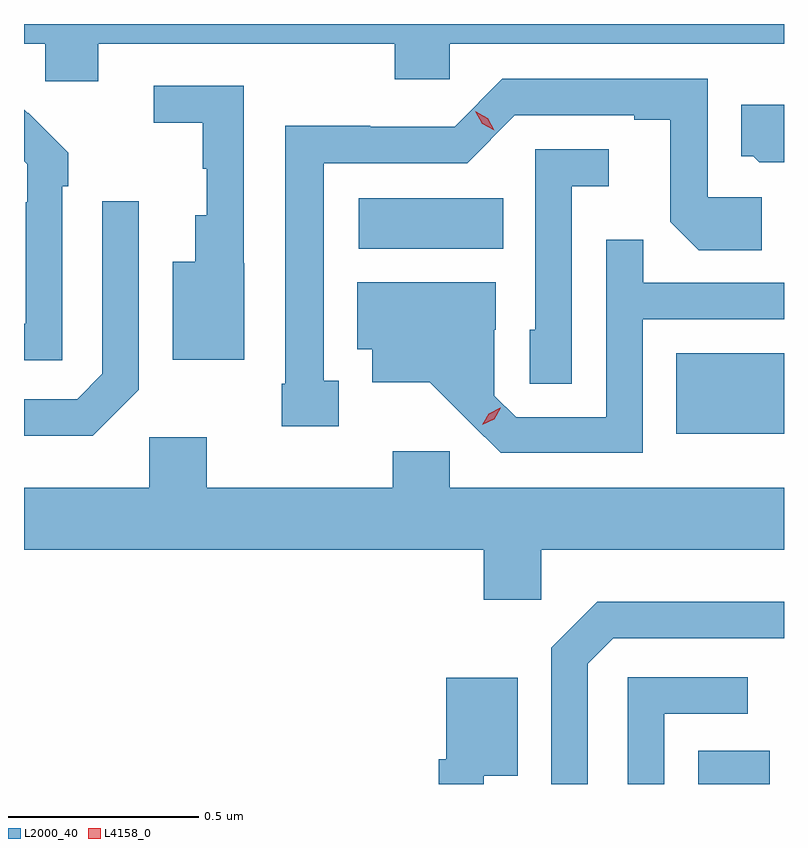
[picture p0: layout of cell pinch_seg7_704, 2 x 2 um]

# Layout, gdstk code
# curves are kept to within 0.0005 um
import gdstk
lib = gdstk.Library(unit=1e-6, precision=1e-09)
def R(c, l, rs):  # rectangles x0, y0, x1, y1
    for r in rs: c.add(gdstk.rectangle(r[:2], r[2:], *l))
def P(c, l, *ps):  # polygons
    for p in ps: c.add(gdstk.Polygon(p, *l))
L2000_40 = (2000, 40)
L4158_0 = (4158, 0)

pinch_seg7_704 = lib.new_cell('pinch_seg7_704')
R(pinch_seg7_704, L2000_40, [(168.683,1009.324,168.871,1009.411), (168.626,1010.246,168.909,1010.458), (167.79,1010.732,168.17,1010.866)])
P(pinch_seg7_704, L2000_40, [(167.104,1011.272),(167.884,1011.272),(167.884,1011.179),(168.03,1011.179),(168.03,1011.272),(168.909,1011.272),(168.909,1011.324),(166.909,1011.324),(166.909,1011.272),(166.965,1011.272),(166.965,1011.174),(167.104,1011.174)],
  [(167.737,1010.385),(167.698,1010.385),(167.698,1010.958),(168.075,1010.958),(168.201,1011.084),(168.515,1011.084),(168.515,1011.072),(168.609,1011.072),(168.609,1010.804),(168.685,1010.728),(168.85,1010.728),(168.85,1010.868),(168.708,1010.868),(168.708,1011.18),(168.168,1011.18),(168.042,1011.054),(167.82,1011.054),(167.82,1011.056),(167.597,1011.056),(167.597,1010.377),(167.587,1010.377),(167.587,1010.265),(167.737,1010.265)],
  [(167.488,1010.694),(167.487,1010.694),(167.487,1011.162),(167.25,1011.162),(167.25,1011.064),(167.379,1011.064),(167.379,1010.943),(167.39,1010.943),(167.39,1010.821),(167.36,1010.821),(167.36,1010.698),(167.3,1010.698),(167.3,1010.441),(167.488,1010.441)],
  [(168.909,1011.112),(168.797,1011.112),(168.797,1010.976),(168.828,1010.976),(168.844,1010.96),(168.909,1010.96)],
  [(167.01,1010.897),(167.025,1010.897),(167.025,1010.985),(166.92,1011.09),(166.919,1011.089),(166.909,1011.099),(166.909,1010.963),(166.917,1010.955),(166.917,1010.855),(166.914,1010.855),(166.914,1010.535),(166.909,1010.535),(166.909,1010.439),(167.01,1010.439)],
  [(168.351,1010.897),(168.448,1010.897),(168.448,1010.994),(168.255,1010.994),(168.255,1010.52),(168.24,1010.52),(168.24,1010.377),(168.351,1010.377)],
  [(167.211,1010.361),(167.211,1010.857),(167.115,1010.857),(167.115,1010.403),(167.049,1010.337),(166.909,1010.337),(166.909,1010.24),(167.09,1010.24)],
  [(168.537,1010.547),(168.909,1010.547),(168.909,1010.643),(168.539,1010.643),(168.539,1010.756),(168.441,1010.756),(168.441,1010.289),(168.204,1010.289),(168.147,1010.346),(168.147,1010.52),(168.151,1010.52),(168.151,1010.644),(167.786,1010.644),(167.786,1010.468),(167.825,1010.468),(167.825,1010.381),(167.977,1010.381),(168.164,1010.196),(168.537,1010.196)],
  [(168.27,1009.94),(168.909,1009.94),(168.909,1010.104),(168.03,1010.104),(168.03,1010.2),(167.879,1010.2),(167.879,1010.104),(167.39,1010.104),(167.39,1010.236),(167.238,1010.236),(167.238,1010.104),(166.909,1010.104),(166.909,1009.94),(168.119,1009.94),(168.119,1009.809),(168.27,1009.809)],
  [(168.393,1009.641),(168.459,1009.707),(168.909,1009.707),(168.909,1009.804),(168.418,1009.804),(168.297,1009.683),(168.297,1009.324),(168.393,1009.324)],
  [(168.594,1009.509),(168.814,1009.509),(168.814,1009.605),(168.498,1009.605),(168.498,1009.324),(168.594,1009.324)],
  [(168.119,1009.346),(168.208,1009.346),(168.208,1009.603),(168.02,1009.603),(168.02,1009.389),(168.001,1009.389),(168.001,1009.324),(168.119,1009.324)])
P(pinch_seg7_704, L4158_0, [(168.147,1011.044),(168.115,1011.062),(168.097,1011.095),(168.097,1011.095),(168.097,1011.095),(168.13,1011.076),(168.147,1011.044),(168.147,1011.044)],
  [(168.115,1010.269),(168.115,1010.269),(168.132,1010.299),(168.162,1010.314),(168.163,1010.314),(168.163,1010.314),(168.146,1010.284),(168.115,1010.269)])

lib.write_gds('pinch_seg7_704.gds')
